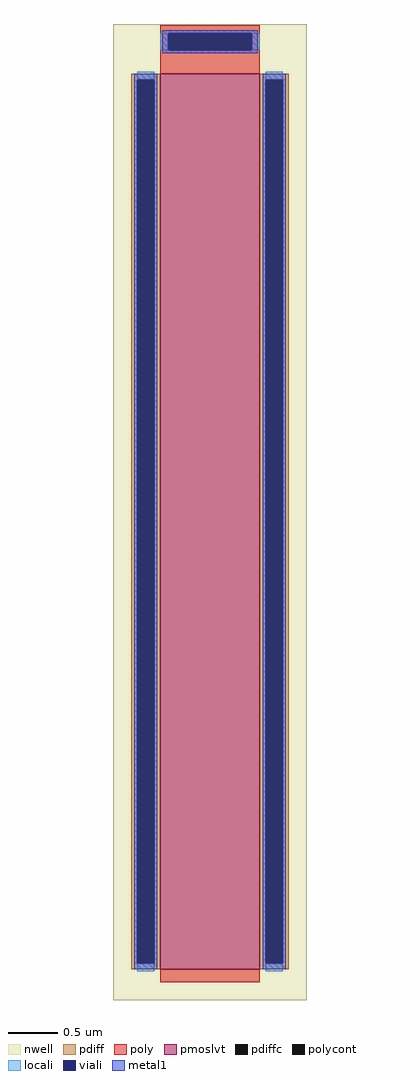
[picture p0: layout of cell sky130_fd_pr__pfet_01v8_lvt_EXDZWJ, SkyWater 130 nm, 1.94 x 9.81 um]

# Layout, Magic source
magic
tech sky130B
magscale 1 2
<< nwell >>
rect -194 -998 194 964
<< pmoslvt >>
rect -100 -936 100 864
<< pdiff >>
rect -158 852 -100 864
rect -158 -924 -146 852
rect -112 -924 -100 852
rect -158 -936 -100 -924
rect 100 852 158 864
rect 100 -924 112 852
rect 146 -924 158 852
rect 100 -936 158 -924
<< pdiffc >>
rect -146 -924 -112 852
rect 112 -924 146 852
<< poly >>
rect -100 945 100 961
rect -100 911 -84 945
rect 84 911 100 945
rect -100 864 100 911
rect -100 -962 100 -936
<< polycont >>
rect -84 911 84 945
<< locali >>
rect -100 911 -84 945
rect 84 911 100 945
rect -146 852 -112 868
rect -146 -940 -112 -924
rect 112 852 146 868
rect 112 -940 146 -924
<< viali >>
rect -84 911 84 945
rect -146 -924 -112 852
rect 112 -924 146 852
<< metal1 >>
rect -96 945 96 951
rect -96 911 -84 945
rect 84 911 96 945
rect -96 905 96 911
rect -152 852 -106 864
rect -152 -924 -146 852
rect -112 -924 -106 852
rect -152 -936 -106 -924
rect 106 852 152 864
rect 106 -924 112 852
rect 146 -924 152 852
rect 106 -936 152 -924
<< properties >>
string gencell sky130_fd_pr__pfet_01v8_lvt
string library sky130
string parameters w 9 l 1 m 1 nf 1 diffcov 100 polycov 100 guard 0 glc 0 grc 0 gtc 0 gbc 0 tbcov 100 rlcov 100 topc 1 botc 0 poverlap 0 doverlap 0 lmin 0.15 wmin 0.42 compatible {sky130_fd_pr__pfet_01v8  sky130_fd_pr__pfet_01v8_lvt sky130_fd_pr__pfet_01v8_hvt  sky130_fd_pr__pfet_g5v0d10v5} full_metal 0 viasrc 100 viadrn 100 viagate 100 viagb 0 viagr 0 viagl 0 viagt 0
<< end >>
